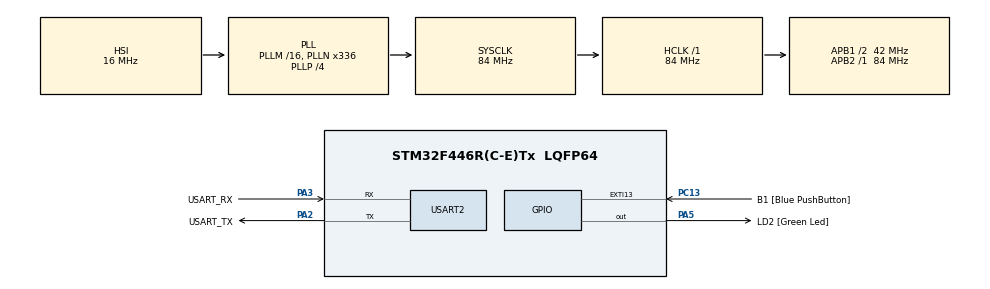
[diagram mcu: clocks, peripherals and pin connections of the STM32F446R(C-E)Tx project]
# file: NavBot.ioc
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Mcu.Family=STM32F4
Mcu.Name=STM32F446R(C-E)Tx
Mcu.Package=LQFP64
NVIC.PriorityGroup=NVIC_PRIORITYGROUP_4
NVIC.TIM6_DAC_IRQn=true\:0\:0\:false\:false\:true\:false\:true
NVIC.TimeBase=TIM6_DAC_IRQn
NVIC.TimeBaseIP=TIM6
PA13.GPIO_Label=TMS
PA13.Signal=SYS_JTMS-SWDIO
PA14.GPIO_Label=TCK
PA14.Signal=SYS_JTCK-SWCLK
PA2.GPIO_Label=USART_TX
PA2.Mode=Asynchronous
PA2.Signal=USART2_TX
PA3.GPIO_Label=USART_RX
PA3.Mode=Asynchronous
PA3.Signal=USART2_RX
PA5.GPIO_Label=LD2 [Green Led]
PA5.Signal=GPIO_Output
PB3.GPIO_Label=SWO
PB3.Signal=SYS_JTDO-SWO
PC13.GPIO_Label=B1 [Blue PushButton]
PC13.GPIO_ModeDefaultEXTI=GPIO_MODE_IT_FALLING
PC13.Signal=GPXTI13
PC14-OSC32_IN.Signal=RCC_OSC32_IN
PC15-OSC32_OUT.Signal=RCC_OSC32_OUT
PH0-OSC_IN.Signal=RCC_OSC_IN
PH1-OSC_OUT.Signal=RCC_OSC_OUT
ProjectManager.HeapSize=0x200
ProjectManager.StackSize=0x400
ProjectManager.TargetToolchain=STM32CubeIDE
RCC.AHBFreq_Value=84000000
RCC.APB1CLKDivider=RCC_HCLK_DIV2
RCC.APB1Freq_Value=42000000
RCC.APB1TimFreq_Value=84000000
RCC.APB2Freq_Value=84000000
RCC.APB2TimFreq_Value=84000000
RCC.CortexFreq_Value=84000000
RCC.FLatency-AdvancedSettings=FLASH_LATENCY_2
RCC.HCLKFreq_Value=84000000
RCC.HSE_VALUE=8000000
RCC.HSI_VALUE=16000000
RCC.LSE_VALUE=32768
RCC.PLLN=336
RCC.PLLP=RCC_PLLP_DIV4
RCC.SYSCLKFreq_VALUE=84000000
RCC.SYSCLKSource=RCC_SYSCLKSOURCE_PLLCLK
RCC.USBFreq_Value=168000000
RCC.VCOOutputFreq_Value=336000000
TIM13.Prescaler=84-1
TIM14.Prescaler=84-1
USART2.VirtualMode=VM_ASYNC
VP_SYS_VS_tim6.Mode=TIM6
VP_TIM13_VS_ClockSourceINT.Mode=Enable_Timer
VP_TIM14_VS_ClockSourceINT.Mode=Enable_Timer
board=NUCLEO-F446RE

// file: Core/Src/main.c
/* USER CODE BEGIN Header */
/**
  ******************************************************************************
  * @file           : main.c
  * @brief          : Main program body
  ******************************************************************************
  * @attention
  *
  * <h2><center>&copy; Copyright (c) 2021 STMicroelectronics.
  * All rights reserved.</center></h2>
  *
  * This software component is licensed by ST under BSD 3-Clause license,
  * the "License"; You may not use this file except in compliance with the
  * License. You may obtain a copy of the License at:
  *                        opensource.org/licenses/BSD-3-Clause
  *
  ******************************************************************************
  */
/* USER CODE END Header */
#include "main.h"

/* USER CODE BEGIN Includes */
#include "FreeRTOS.h"
#include "task.h"
#include "hcsr04.h"
/* USER CODE END Includes */

TIM_HandleTypeDef htim13;
TIM_HandleTypeDef htim14;

UART_HandleTypeDef huart2;

void SystemClock_Config(void);
static void MX_GPIO_Init(void);
static void MX_TIM13_Init(void);
static void MX_TIM14_Init(void);
static void MX_USART2_UART_Init(void);
/* USER CODE BEGIN PFP */
static HCSR04_Type HCSR04_handle_0, HCSR04_handle_1;
/* USER CODE END PFP */

int main(void)
{

  /* MCU Configuration--------------------------------------------------------*/

  /* Reset of all peripherals, Initializes the Flash interface and the Systick. */
  HAL_Init();

  /* Configure the system clock */
  SystemClock_Config();

  /* Initialize all configured peripherals */
  MX_GPIO_Init();
  MX_TIM13_Init();
  MX_TIM14_Init();
  MX_USART2_UART_Init();
  /* USER CODE BEGIN 2 */
  HCSR04_handle_0.echo_pin = 0x10;
  HCSR04_handle_0.echo_port = GPIOB;
  HCSR04_handle_0.trig_pin = 0x20;
  HCSR04_handle_0.trig_port = GPIOB;
  HCSR04_handle_0.delay_timer = &htim13;
  hscr04_init(&HCSR04_handle_0);

  HCSR04_handle_1.echo_pin = 0x08;
  HCSR04_handle_1.echo_port = GPIOB;
  HCSR04_handle_1.trig_pin = 0x02;
  HCSR04_handle_1.trig_port = GPIOB;
  HCSR04_handle_1.delay_timer = &htim14;
  hscr04_init(&HCSR04_handle_1);

  HAL_TIM_Base_Start(&htim13);
  HAL_TIM_Base_Start(&htim14);

  __HAL_TIM_SET_COUNTER(&htim13, 0);

  vTaskStartScheduler();
  /* USER CODE END 2 */

  /* Infinite loop */
  while (1)
  {

  }
}

void SystemClock_Config(void)
{
  RCC_OscInitTypeDef RCC_OscInitStruct = {0};
  RCC_ClkInitTypeDef RCC_ClkInitStruct = {0};

  /** Configure the main internal regulator output voltage
  */
  __HAL_RCC_PWR_CLK_ENABLE();
  __HAL_PWR_VOLTAGESCALING_CONFIG(PWR_REGULATOR_VOLTAGE_SCALE3);
  /** Initializes the RCC Oscillators according to the specified parameters
  * in the RCC_OscInitTypeDef structure.
  */
  RCC_OscInitStruct.OscillatorType = RCC_OSCILLATORTYPE_HSI;
  RCC_OscInitStruct.HSIState = RCC_HSI_ON;
  RCC_OscInitStruct.HSICalibrationValue = RCC_HSICALIBRATION_DEFAULT;
  RCC_OscInitStruct.PLL.PLLState = RCC_PLL_ON;
  RCC_OscInitStruct.PLL.PLLSource = RCC_PLLSOURCE_HSI;
  RCC_OscInitStruct.PLL.PLLM = 16;
  RCC_OscInitStruct.PLL.PLLN = 336;
  RCC_OscInitStruct.PLL.PLLP = RCC_PLLP_DIV4;
  RCC_OscInitStruct.PLL.PLLQ = 2;
  RCC_OscInitStruct.PLL.PLLR = 2;
  if (HAL_RCC_OscConfig(&RCC_OscInitStruct) != HAL_OK)
  {
    Error_Handler();
  }
  /** Initializes the CPU, AHB and APB buses clocks
  */
  RCC_ClkInitStruct.ClockType = RCC_CLOCKTYPE_HCLK|RCC_CLOCKTYPE_SYSCLK
                              |RCC_CLOCKTYPE_PCLK1|RCC_CLOCKTYPE_PCLK2;
  RCC_ClkInitStruct.SYSCLKSource = RCC_SYSCLKSOURCE_PLLCLK;
  RCC_ClkInitStruct.AHBCLKDivider = RCC_SYSCLK_DIV1;
  RCC_ClkInitStruct.APB1CLKDivider = RCC_HCLK_DIV2;
  RCC_ClkInitStruct.APB2CLKDivider = RCC_HCLK_DIV1;

  if (HAL_RCC_ClockConfig(&RCC_ClkInitStruct, FLASH_LATENCY_2) != HAL_OK)
  {
    Error_Handler();
  }
}

static void MX_TIM13_Init(void)
{

  htim13.Instance = TIM13;
  htim13.Init.Prescaler = 84-1;
  htim13.Init.CounterMode = TIM_COUNTERMODE_UP;
  htim13.Init.Period = 65535;
  htim13.Init.ClockDivision = TIM_CLOCKDIVISION_DIV1;
  htim13.Init.AutoReloadPreload = TIM_AUTORELOAD_PRELOAD_DISABLE;
  if (HAL_TIM_Base_Init(&htim13) != HAL_OK)
  {
    Error_Handler();
  }

}

static void MX_TIM14_Init(void)
{

  htim14.Instance = TIM14;
  htim14.Init.Prescaler = 84-1;
  htim14.Init.CounterMode = TIM_COUNTERMODE_UP;
  htim14.Init.Period = 65535;
  htim14.Init.ClockDivision = TIM_CLOCKDIVISION_DIV1;
  htim14.Init.AutoReloadPreload = TIM_AUTORELOAD_PRELOAD_DISABLE;
  if (HAL_TIM_Base_Init(&htim14) != HAL_OK)
  {
    Error_Handler();
  }

}

static void MX_USART2_UART_Init(void)
{

  huart2.Instance = USART2;
  huart2.Init.BaudRate = 115200;
  huart2.Init.WordLength = UART_WORDLENGTH_8B;
  huart2.Init.StopBits = UART_STOPBITS_1;
  huart2.Init.Parity = UART_PARITY_NONE;
  huart2.Init.Mode = UART_MODE_TX_RX;
  huart2.Init.HwFlowCtl = UART_HWCONTROL_NONE;
  huart2.Init.OverSampling = UART_OVERSAMPLING_16;
  if (HAL_UART_Init(&huart2) != HAL_OK)
  {
    Error_Handler();
  }

}

static void MX_GPIO_Init(void)
{
  GPIO_InitTypeDef GPIO_InitStruct = {0};

  /* GPIO Ports Clock Enable */
  __HAL_RCC_GPIOC_CLK_ENABLE();
  __HAL_RCC_GPIOH_CLK_ENABLE();
  __HAL_RCC_GPIOA_CLK_ENABLE();
  __HAL_RCC_GPIOB_CLK_ENABLE();

  /*Configure GPIO pin Output Level */
  HAL_GPIO_WritePin(LD2_GPIO_Port, LD2_Pin, GPIO_PIN_RESET);

  /*Configure GPIO pin : B1_Pin */
  GPIO_InitStruct.Pin = B1_Pin;
  GPIO_InitStruct.Mode = GPIO_MODE_IT_FALLING;
  GPIO_InitStruct.Pull = GPIO_NOPULL;
  HAL_GPIO_Init(B1_GPIO_Port, &GPIO_InitStruct);

  /*Configure GPIO pin : LD2_Pin */
  GPIO_InitStruct.Pin = LD2_Pin;
  GPIO_InitStruct.Mode = GPIO_MODE_OUTPUT_PP;
  GPIO_InitStruct.Pull = GPIO_NOPULL;
  GPIO_InitStruct.Speed = GPIO_SPEED_FREQ_LOW;
  HAL_GPIO_Init(LD2_GPIO_Port, &GPIO_InitStruct);

}

/* USER CODE BEGIN 4 */

UART_HandleTypeDef *get_uart_handle()
{
	return &huart2;
}
volatile static uint32_t interrupt_counter = 0;
void EXTI9_5_IRQHandler()
{
	interrupt_counter++;
}

void EXTI3_IRQHandler()
{
	interrupt_counter++;
	if(EXTI->PR & (1 << 3))
	{
		EXTI->PR |= (1 << 3);

		if(EXTI->RTSR & (1 << 3))
		{
			EXTI->RTSR &= ~(1 << 3);
			EXTI->FTSR |= (1 << 3);
			hcsr04_callback_redge(1);
		}
		else
		{
			EXTI->FTSR &= ~(1 << 3);
			EXTI->RTSR |= (1 << 3);
			hcsr04_callback_fedge(1);
		}
	}
}

void EXTI4_IRQHandler()
{
	interrupt_counter++;
	if(EXTI->PR & (1 << 4))
	{
		EXTI->PR |= (1 << 4);

		if(EXTI->RTSR & (1 << 4))
		{
			EXTI->RTSR &= ~(1 << 4);
			EXTI->FTSR |= (1 << 4);
			hcsr04_callback_redge(0);
		}
		else
		{
			EXTI->FTSR &= ~(1 << 4);
			EXTI->RTSR |= (1 << 4);
			hcsr04_callback_fedge(0);
		}
	}
}
/* USER CODE END 4 */

 /**
  * @brief  Period elapsed callback in non blocking mode
  * @note   This function is called  when TIM6 interrupt took place, inside
  * HAL_TIM_IRQHandler(). It makes a direct call to HAL_IncTick() to increment
  * a global variable "uwTick" used as application time base.
  * @param  htim : TIM handle
  * @retval None
  */
void HAL_TIM_PeriodElapsedCallback(TIM_HandleTypeDef *htim)
{
  if (htim->Instance == TIM6) {
    HAL_IncTick();
  }
}

void Error_Handler(void)
{
  __disable_irq();
  while (1)
  {
  }
}

/************************ (C) COPYRIGHT STMicroelectronics *****END OF FILE****/
